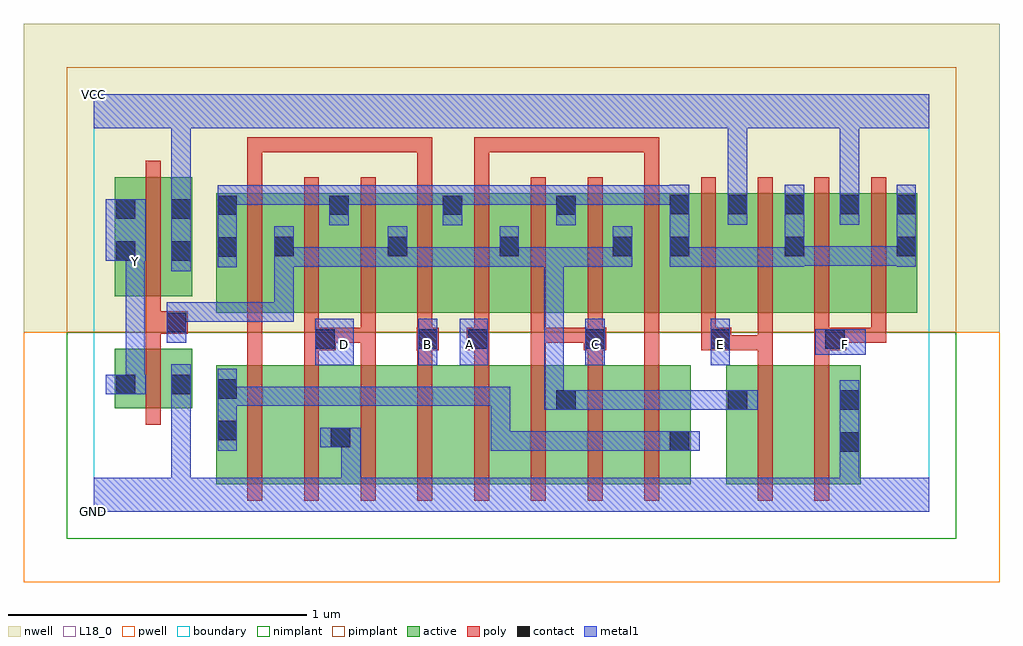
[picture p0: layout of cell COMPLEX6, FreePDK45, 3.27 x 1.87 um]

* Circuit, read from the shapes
.subckt COMPLEX6 A B C D E F GND VCC Y
M1 GND n1 Y VSUBS nfet w=0.2u l=0.05u
M2 n2 B n3 VSUBS nfet w=0.4u l=0.05u
M3 GND D n2 VSUBS nfet w=0.4u l=0.05u
M4 n4 D GND VSUBS nfet w=0.4u l=0.05u
M5 n5 B n4 VSUBS nfet w=0.4u l=0.05u
M6 n6 A n5 VSUBS nfet w=0.4u l=0.05u
M7 n1 C n6 VSUBS nfet w=0.4u l=0.05u
M8 n7 C n1 VSUBS nfet w=0.4u l=0.05u
M9 n3 A n7 VSUBS nfet w=0.4u l=0.05u
M10 n8 E n1 VSUBS nfet w=0.4u l=0.05u
M11 GND F n8 VSUBS nfet w=0.4u l=0.05u
M12 VCC n1 Y n9 pfet w=0.4u l=0.05u
M13 n1 B n10 n9 pfet w=0.4u l=0.05u m=2
M14 n10 D n1 n9 pfet w=0.4u l=0.05u m=2
M15 n1 A n10 n9 pfet w=0.4u l=0.05u m=2
M16 n10 C n1 n9 pfet w=0.4u l=0.05u m=2
M17 VCC E n10 n9 pfet w=0.4u l=0.05u m=2
M18 VCC F n10 n9 pfet w=0.4u l=0.05u m=2
.ends

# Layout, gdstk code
import gdstk
lib = gdstk.Library(unit=1e-6, precision=1e-09)
def R(c, l, rs):  # rectangles x0, y0, x1, y1
    for r in rs: c.add(gdstk.rectangle(r[:2], r[2:], *l))
def A(c, l, x, y, w, h, nx, ny, dx, dy):  # array of equal rectangles
    R(c, l, [(x+i*dx, y+j*dy, x+i*dx+w, y+j*dy+h) for i in range(nx) for j in range(ny)])
active = (1, 0)
pwell = (2, 0)
nwell = (3, 0)
nimplant = (4, 0)
pimplant = (5, 0)
poly = (9, 0)
contact = (10, 0)
metal1 = (11, 0)
L18_0 = (18, 0)
boundary = (235, 0)

complex6 = lib.new_cell('COMPLEX6')
A(complex6, active, 1.165, 0.667, 0.265, 0.4, 4, 1, 0.19, 0)
A(complex6, active, 1.355, 0.782, 0.075, 0.285, 3, 1, 0.19, 0)
R(complex6, active, [(0.41,0.092,0.635,0.492), (0.635,0.092,0.865,0.492), (0.79,0.092,1.015,0.492), (1.015,0.092,1.205,0.492), (1.205,0.092,1.395,0.492), (1.395,0.092,1.62,0.492), (1.545,0.092,1.775,0.492), (1.775,0.092,2,0.492), (2.12,0.092,2.345,0.492), (2.345,0.092,2.57,0.492), (0.41,0.147,0.515,0.492), (0.79,0.147,0.865,0.492), (1.545,0.147,1.62,0.492), (1.925,0.147,2,0.492), (2.12,0.147,2.225,0.492), (2.495,0.147,2.57,0.492), (0.07,0.347,0.145,0.547), (0.07,0.347,0.33,0.547), (0.255,0.347,0.33,0.547), (0.41,0.667,0.485,1.067), (0.41,0.667,0.675,1.067), (0.6,0.667,0.86,1.067), (0.785,0.667,1.055,1.067), (0.98,0.667,1.24,1.067), (1.925,0.667,2.195,1.067), (2.12,0.667,2.385,1.067), (2.31,0.667,2.57,1.067), (2.495,0.667,2.76,1.067), (2.685,0.667,2.76,1.067), (0.07,0.722,0.145,1.122), (0.07,0.722,0.33,1.122), (0.255,0.722,0.33,1.122), (0.6,0.782,0.675,1.067), (0.785,0.782,0.86,1.067), (0.98,0.782,1.055,1.067), (2.12,0.782,2.195,1.067), (1.925,0.79,2,1.067), (2.31,0.79,2.385,1.067), (1.165,0.802,1.24,1.067), (2.495,0.802,2.57,1.067)])
R(complex6, pwell, [(-0.235,-0.235,3.035,0.602)])
R(complex6, nwell, [(-0.235,0.602,3.035,1.635)])
R(complex6, nimplant, [(-0.09,-0.09,2.89,0.602)])
R(complex6, pimplant, [(-0.09,0.602,2.89,1.49)])
A(complex6, poly, 0.515, 0.037, 0.05, 0.51, 8, 1, 0.19, 0)
A(complex6, poly, 0.515, 0.567, 0.05, 0.095, 9, 1, 0.19, 0)
A(complex6, poly, 0.515, 0.612, 0.05, 0.51, 12, 1, 0.19, 0)
R(complex6, poly, [(2.225,0.037,2.275,0.547), (2.415,0.037,2.465,0.547), (0.175,0.292,0.225,0.602), (0.515,0.497,0.565,0.617), (0.705,0.497,0.755,0.592), (0.895,0.497,0.945,0.617), (1.085,0.497,1.135,0.592), (1.275,0.497,1.325,0.592), (1.465,0.497,1.515,0.617), (1.655,0.497,1.705,0.592), (1.845,0.497,1.895,0.617), (2.225,0.497,2.275,0.592), (2.415,0.497,2.465,0.592), (0.705,0.542,0.812,0.617), (1.082,0.542,1.157,0.617), (1.25,0.542,1.325,0.617), (1.642,0.542,1.717,0.617), (2.035,0.542,2.137,0.617), (2.087,0.542,2.137,0.592), (2.087,0.542,2.137,0.592), (2.087,0.542,2.275,0.592), (2.225,0.542,2.275,0.592), (2.225,0.542,2.275,0.662), (2.415,0.542,2.522,0.617), (0.175,0.552,0.225,0.647), (0.515,0.567,0.565,0.617), (0.762,0.567,0.945,0.617), (0.895,0.567,0.945,0.617), (0.895,0.567,0.945,0.617), (0.895,0.567,0.945,0.617), (1.465,0.567,1.515,0.617), (1.465,0.567,1.692,0.617), (1.642,0.567,1.692,0.617), (1.642,0.567,1.692,0.617), (1.845,0.567,1.895,0.617), (2.415,0.567,2.465,0.662), (2.472,0.567,2.655,0.617), (2.472,0.567,2.522,0.617), (2.472,0.567,2.522,0.617), (2.605,0.567,2.655,0.662), (2.605,0.567,2.655,0.617), (0.175,0.597,0.315,0.672), (0.175,0.622,0.225,0.717), (0.175,0.667,0.225,1.177), (0.515,1.072,0.565,1.255), (1.085,1.072,1.135,1.255), (1.275,1.072,1.325,1.255), (1.845,1.072,1.895,1.255), (0.515,1.205,0.565,1.255), (0.515,1.205,0.697,1.255), (0.647,1.205,0.697,1.255), (0.647,1.205,0.697,1.255), (0.647,1.205,0.697,1.255), (0.647,1.205,0.945,1.255), (0.895,1.205,0.945,1.255), (0.895,1.205,0.945,1.255), (0.895,1.205,0.945,1.255), (0.895,1.205,1.135,1.255), (1.085,1.205,1.135,1.255), (1.085,1.205,1.135,1.255), (1.085,1.205,1.135,1.255), (1.275,1.205,1.325,1.255), (1.275,1.205,1.325,1.255), (1.275,1.205,1.325,1.255), (1.275,1.205,1.457,1.255), (1.407,1.205,1.457,1.255), (1.407,1.205,1.457,1.255), (1.407,1.205,1.457,1.255), (1.407,1.205,1.762,1.255), (1.712,1.205,1.895,1.255), (1.712,1.205,1.762,1.255), (1.845,1.205,1.895,1.255), (1.845,1.205,1.895,1.255), (1.845,1.205,1.895,1.255)])
A(complex6, contact, 0.79, 0.995, 0.065, 0.065, 3, 1, 0.38, 0)
R(complex6, contact, [(2.5,0.202,2.565,0.267), (1.93,0.205,1.995,0.27), (0.795,0.217,0.86,0.282), (0.415,0.24,0.48,0.305), (1.55,0.342,1.615,0.407), (2.125,0.342,2.19,0.407), (2.5,0.342,2.565,0.407), (0.415,0.38,0.48,0.445), (0.075,0.395,0.14,0.46), (0.26,0.395,0.325,0.46), (0.742,0.547,0.807,0.612), (1.087,0.547,1.152,0.612), (1.255,0.547,1.32,0.612), (1.647,0.547,1.712,0.612), (2.067,0.547,2.132,0.612), (2.452,0.547,2.517,0.612), (0.245,0.602,0.31,0.667), (0.075,0.842,0.14,0.907), (0.26,0.842,0.325,0.907), (0.415,0.855,0.48,0.92), (0.605,0.857,0.67,0.922), (0.985,0.857,1.05,0.922), (1.36,0.857,1.425,0.922), (1.74,0.857,1.805,0.922), (1.93,0.857,1.995,0.922), (2.315,0.857,2.38,0.922), (2.69,0.857,2.755,0.922), (0.075,0.982,0.14,1.047), (0.26,0.982,0.325,1.047), (0.415,0.995,0.48,1.06), (1.93,0.997,1.995,1.062), (2.125,0.997,2.19,1.062), (2.315,0.997,2.38,1.062), (2.5,0.997,2.565,1.062), (2.69,0.997,2.755,1.062)])
A(complex6, metal1, 0.79, 0.96, 0.065, 0.135, 3, 1, 0.38, 0)
R(complex6, metal1, [(0,0,2.8,0.115), (0.26,0.05,0.325,0.115), (0.26,0.05,0.325,0.115), (0.26,0.05,0.325,0.115), (0.26,0.05,0.325,0.115), (0.26,0.05,0.325,0.425), (0.83,0.05,0.895,0.282), (2.5,0.05,2.565,0.232), (2.5,0.167,2.565,0.442), (0.415,0.205,0.48,0.48), (1.33,0.205,1.395,0.27), (1.33,0.205,1.562,0.27), (1.33,0.205,1.395,0.42), (1.497,0.205,1.562,0.27), (1.497,0.205,1.562,0.27), (1.497,0.205,1.562,0.27), (1.497,0.205,1.787,0.27), (1.722,0.205,1.787,0.27), (1.722,0.205,1.787,0.27), (1.722,0.205,1.787,0.27), (1.722,0.205,1.96,0.27), (1.895,0.205,1.96,0.27), (1.895,0.205,1.96,0.27), (1.895,0.205,2.03,0.27), (0.76,0.217,0.895,0.282), (1.51,0.342,1.575,0.407), (1.51,0.342,1.575,0.407), (1.51,0.342,1.575,0.887), (1.51,0.342,1.65,0.407), (1.585,0.342,1.787,0.407), (1.722,0.342,1.787,0.407), (1.722,0.342,1.787,0.407), (1.722,0.342,1.787,0.407), (1.722,0.342,1.942,0.407), (1.877,0.342,1.942,0.407), (1.877,0.342,1.942,0.407), (1.877,0.342,1.942,0.407), (1.877,0.342,2.097,0.407), (2.032,0.342,2.097,0.407), (2.032,0.342,2.155,0.407), (2.09,0.342,2.225,0.407), (0.415,0.355,0.48,0.42), (0.415,0.355,0.48,0.42), (0.415,0.355,0.687,0.42), (0.622,0.355,0.687,0.42), (0.622,0.355,0.687,0.42), (0.622,0.355,0.687,0.42), (0.622,0.355,0.825,0.42), (0.76,0.355,0.825,0.42), (0.76,0.355,0.825,0.42), (0.76,0.355,0.825,0.42), (0.76,0.355,1.097,0.42), (1.032,0.355,1.097,0.42), (1.032,0.355,1.097,0.42), (1.032,0.355,1.097,0.42), (1.032,0.355,1.257,0.42), (1.192,0.355,1.257,0.42), (1.192,0.355,1.257,0.42), (1.192,0.355,1.257,0.42), (1.192,0.355,1.395,0.42), (1.33,0.355,1.395,0.42), (0.26,0.36,0.325,0.495), (0.04,0.395,0.175,0.46), (0.107,0.395,0.172,0.837), (0.742,0.492,0.872,0.647), (1.087,0.492,1.152,0.647), (1.227,0.492,1.32,0.647), (1.647,0.492,1.712,0.647), (2.067,0.492,2.132,0.647), (2.417,0.527,2.587,0.612), (0.245,0.567,0.31,0.702), (0.245,0.637,0.31,0.702), (0.245,0.637,0.31,0.702), (0.245,0.637,0.48,0.702), (0.415,0.637,0.48,0.702), (0.415,0.637,0.48,0.702), (0.415,0.637,0.48,0.702), (0.415,0.637,0.67,0.702), (0.605,0.637,0.67,0.702), (0.605,0.637,0.67,0.887), (0.107,0.772,0.172,0.907), (0.26,0.807,0.325,1.082), (0.415,0.82,0.48,1.095), (0.605,0.822,0.67,0.887), (0.605,0.822,0.67,0.887), (0.605,0.822,0.67,0.957), (0.605,0.822,0.912,0.887), (0.847,0.822,0.912,0.887), (0.847,0.822,0.912,0.887), (0.847,0.822,0.912,0.887), (0.847,0.822,1.05,0.887), (0.985,0.822,1.05,0.887), (0.985,0.822,1.05,0.887), (0.985,0.822,1.05,0.957), (0.985,0.822,1.257,0.887), (1.192,0.822,1.257,0.887), (1.192,0.822,1.257,0.887), (1.192,0.822,1.257,0.887), (1.192,0.822,1.425,0.887), (1.36,0.822,1.425,0.887), (1.36,0.822,1.425,0.887), (1.36,0.822,1.425,0.957), (1.36,0.822,1.575,0.887), (1.51,0.822,1.575,0.887), (1.51,0.822,1.805,0.887), (1.74,0.822,1.805,0.887), (1.74,0.822,1.805,0.887), (1.74,0.822,1.805,0.957), (1.93,0.822,1.995,1.097), (1.93,0.822,1.995,0.887), (1.93,0.822,1.995,0.887), (1.93,0.822,2.097,0.887), (2.032,0.822,2.097,0.887), (2.032,0.822,2.242,0.887), (2.177,0.822,2.242,0.887), (2.177,0.822,2.242,0.887), (2.177,0.822,2.242,0.887), (2.177,0.822,2.38,0.887), (2.315,0.822,2.38,1.097), (2.69,0.822,2.755,1.097), (2.315,0.825,2.38,0.89), (2.315,0.825,2.38,0.89), (2.315,0.825,2.517,0.89), (2.452,0.825,2.755,0.89), (2.452,0.825,2.517,0.89), (2.452,0.825,2.517,0.89), (2.452,0.825,2.517,0.89), (0.04,0.842,0.175,1.047), (0.107,0.842,0.172,0.907), (2.125,0.962,2.19,1.097), (2.5,0.962,2.565,1.097), (0.26,1.017,0.325,1.35), (0.415,1.03,0.48,1.095), (0.415,1.03,0.48,1.095), (0.415,1.03,0.617,1.095), (0.552,1.03,0.855,1.095), (0.552,1.03,0.617,1.095), (0.552,1.03,0.617,1.095), (0.552,1.03,0.617,1.095), (0.79,1.03,0.855,1.095), (0.79,1.03,0.855,1.095), (0.79,1.03,1.097,1.095), (1.032,1.03,1.097,1.095), (1.032,1.03,1.097,1.095), (1.032,1.03,1.097,1.095), (1.032,1.03,1.235,1.095), (1.17,1.03,1.235,1.095), (1.17,1.03,1.235,1.095), (1.17,1.03,1.395,1.095), (1.33,1.03,1.395,1.095), (1.33,1.03,1.395,1.095), (1.33,1.03,1.395,1.095), (1.33,1.03,1.615,1.095), (1.55,1.03,1.787,1.095), (1.722,1.03,1.787,1.095), (1.722,1.03,1.787,1.095), (1.722,1.03,1.787,1.095), (1.722,1.03,1.96,1.095), (1.895,1.03,1.96,1.095), (1.895,1.03,1.995,1.095), (2.125,1.032,2.19,1.097), (2.125,1.032,2.19,1.097), (2.125,1.032,2.19,1.35), (2.5,1.032,2.565,1.35), (0,1.285,2.8,1.4), (0.26,1.285,0.325,1.35), (0.26,1.285,0.325,1.35), (2.5,1.285,2.565,1.35), (2.5,1.285,2.565,1.35)])
A(complex6, L18_0, 1.227, 0.527, 0.065, 0.065, 4, 1, 0.42, 0)
R(complex6, L18_0, [(0,0,2.8,0.115), (0.26,0.05,0.325,0.115), (0.26,0.05,0.325,0.115), (0.26,0.05,0.325,0.115), (0.26,0.05,0.325,0.115), (0.26,0.05,0.325,0.425), (0.83,0.05,0.895,0.282), (2.5,0.05,2.565,0.232), (2.5,0.167,2.565,0.442), (0.76,0.217,0.895,0.282), (0.26,0.36,0.325,0.495), (0.04,0.395,0.175,0.46), (0.107,0.395,0.172,0.837), (0.742,0.492,0.872,0.647), (1.087,0.492,1.152,0.647), (1.227,0.492,1.32,0.647), (1.647,0.492,1.712,0.647), (2.067,0.492,2.132,0.647), (0.807,0.527,0.872,0.592), (1.087,0.527,1.152,0.592), (2.417,0.527,2.587,0.612), (0.107,0.772,0.172,0.907), (0.107,0.807,0.172,0.872), (0.26,0.807,0.325,1.082), (0.04,0.842,0.175,1.047), (0.107,0.842,0.172,0.907), (2.125,0.962,2.19,1.097), (2.5,0.962,2.565,1.097), (0.26,1.017,0.325,1.35), (2.125,1.032,2.19,1.097), (2.125,1.032,2.19,1.097), (2.125,1.032,2.19,1.35), (2.5,1.032,2.565,1.35), (0,1.285,2.8,1.4), (0.26,1.285,0.325,1.35), (0.26,1.285,0.325,1.35), (2.5,1.285,2.565,1.35), (2.5,1.285,2.565,1.35)])
R(complex6, boundary, [(0,0,2.8,1.4)])
complex6.add(gdstk.Label('A', (1.26,0.56), layer=11, texttype=0))
complex6.add(gdstk.Label('B', (1.12,0.56), layer=11, texttype=0))
complex6.add(gdstk.Label('C', (1.68,0.56), layer=11, texttype=0))
complex6.add(gdstk.Label('D', (0.84,0.56), layer=11, texttype=0))
complex6.add(gdstk.Label('E', (2.1,0.56), layer=11, texttype=0))
complex6.add(gdstk.Label('F', (2.52,0.56), layer=11, texttype=0))
complex6.add(gdstk.Label('Y', (0.14,0.84), layer=11, texttype=0))
complex6.add(gdstk.Label('VCC', (0,1.4), layer=11, texttype=0))
complex6.add(gdstk.Label('GND', (0,0), layer=11, texttype=0))

lib.write_gds('COMPLEX6.gds')
